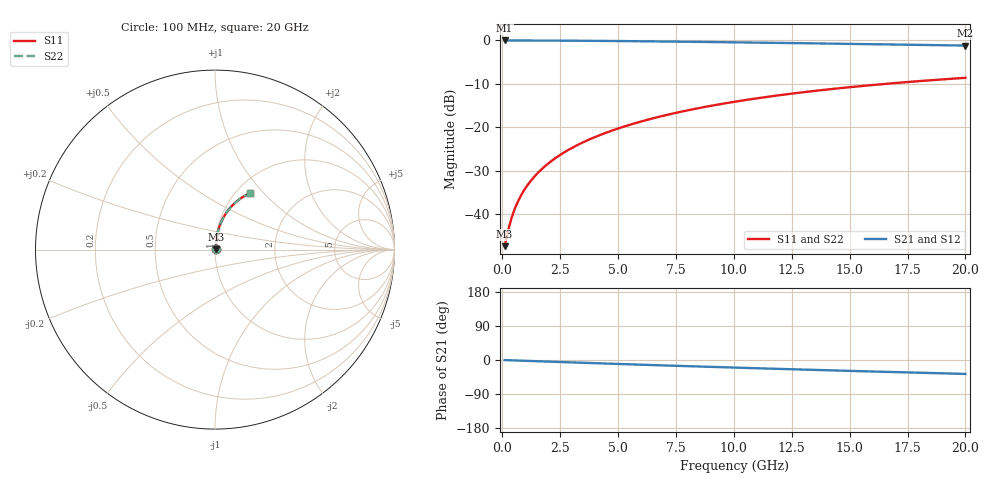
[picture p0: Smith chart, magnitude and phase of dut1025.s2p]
! Touchstone file exported from HFSS 2024.1.0
!  File:  C:/UserFiles/LocalFiles/RDL_TSV_Batchsim/temp_RDL_bottom_1025_1780050930.aedt
!  Generated:  06:37:51 PM May 29, 2026
!  Design:  RDL_bottom
!  Project:  temp_RDL_bottom_1025_1780050930
!  Setup:  Setup1
!  Solution:  Sweep
! Variables:
!  dtsv = 10.80580581um
!  hbump = 3um
!  htsv = 86.11um
!  ldown = 497.08um
!  lrdl = 100um
!  p = 40
!  p1 = 45.34um
!  rhole = 1um
!  t = 450um
!  tdown = 2.77um
!  trdl = 3.915915916um
!  wdown = 17.68um
!  wrdl = 20um
# GHz S MA R 50.000000
! Terminal data exported
! Port[1] = RDL1_T1
! Port[2] = RDL1_T2
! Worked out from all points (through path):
!   200 points, 100 MHz to 20 GHz, reference 50 ohm
!   highest |S21| = -0.03 dB at 100 MHz (marker M1); lowest = -1.2 dB at 20 GHz (marker M2)
!   group delay of S21, straight-line fit = 5.09 ps
!   lowest |S11| = -47.3 dB at 100 MHz (marker M3), VSWR 1.01, Z = 50.4 + j0.209 ohm
!   |S11| at or under -10 dB: start of sweep to 16.56 GHz
!   |S22| runs from -47.3 to -8.6 dB; largest |S21 - S12| = 5.1e-15
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0.1  0.00432 28.7  0.9962 -0.2  0.9962 -0.2  0.00432 28.7
! Gamma 0 0 0 0
! Port Impedance 50 0 50 0
0.3  0.007314 56.7  0.996 -0.7  0.996 -0.7  0.007314 56.7
0.4  0.009081 62.8  0.9958 -0.9  0.9958 -0.9  0.009081 62.8
0.5  0.01088 66.8  0.9956 -1.1  0.9956 -1.1  0.01089 66.7
0.6  0.0127 69.6  0.9955 -1.3  0.9955 -1.3  0.0127 69.6
0.8  0.01636 73.4  0.9951 -1.7  0.9951 -1.7  0.01636 73.4
1  0.02003 75.8  0.9948 -2.2  0.9948 -2.2  0.02003 75.8
1.2  0.02374 77.5  0.9945 -2.6  0.9945 -2.6  0.02374 77.5
1.4  0.02747 78.7  0.9941 -3.0  0.9941 -3.0  0.02747 78.7
1.7  0.0331 80.0  0.9935 -3.6  0.9935 -3.6  0.0331 80.0
2.2  0.04258 81.2  0.9923 -4.7  0.9923 -4.7  0.04258 81.1
2.8  0.05407 81.8  0.9905 -5.9  0.9905 -5.9  0.05407 81.8
3.5  0.06762 81.9  0.9879 -7.4  0.9879 -7.4  0.06762 81.9
4.2  0.0813 81.7  0.9849 -8.8  0.9849 -8.8  0.08129 81.6
5  0.09707 81.1  0.981 -10.4  0.981 -10.4  0.09706 81.1
5.9  0.1149 80.2  0.9761 -12.2  0.9761 -12.2  0.1149 80.2
6.8  0.1329 79.1  0.9707 -14.0  0.9707 -14.0  0.1329 79.1
8.4  0.1648 76.9  0.9602 -17.0  0.9602 -17.0  0.1648 76.9
10.1  0.1983 74.3  0.9481 -20.2  0.9481 -20.2  0.1982 74.2
13.4  0.2608 68.9  0.923 -26.0  0.923 -26.0  0.2607 68.8
16.7  0.3186 63.4  0.8967 -31.5  0.8967 -31.5  0.3185 63.4
20  0.3707 58.2  0.87 -36.7  0.87 -36.7  0.3706 58.1
